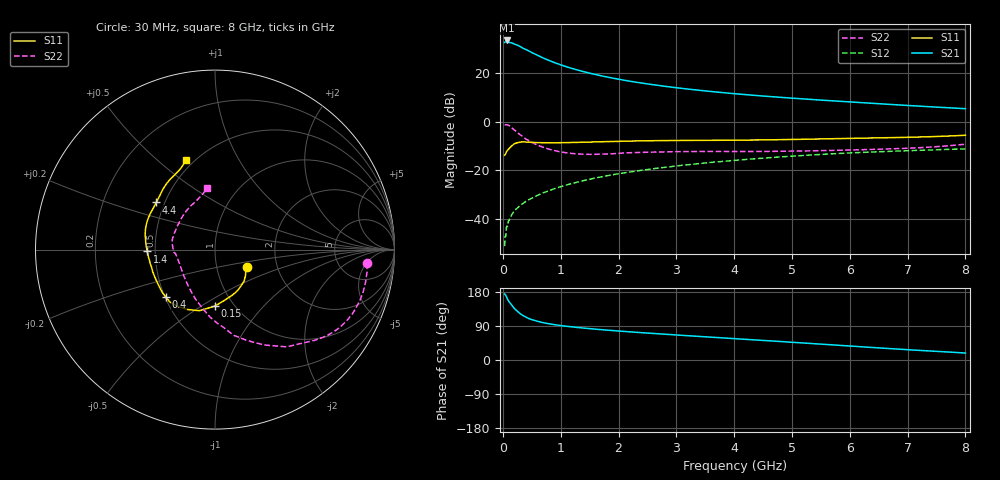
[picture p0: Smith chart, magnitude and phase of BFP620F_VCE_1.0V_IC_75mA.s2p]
! Infineon Technologies  Discrete & RF Semiconductors
! BFP620F
! VCE =  1.0 V,  IC =  75 mA
! Common Emitter S-Parameters:  Dec 2014
# GHz  S  MA  R  50
!  f  S11  S21  S12  S22
! GHz  MAG  ANG  MAG  ANG  MAG  ANG  MAG  ANG
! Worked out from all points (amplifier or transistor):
!   95 points, 30 MHz to 8 GHz, reference 50 ohm
!   highest |S21| = 33.2 dB at 70 MHz (marker M1)
!   |S21| within 3 dB of that: start of sweep to 334.1 MHz
!   unconditionally stable (mu >= 1): start of sweep to 31.86 MHz; 1.407 GHz to end of sweep
!   at 300 MHz: K = 0.61, MSG = 32.6 dB, |S12| = -34.4 dB
!   at 3.3 GHz: K = 1.04, MAG = 14.0 dB, |S12| = -17.5 dB
!   at 8 GHz: K = 1.06, MAG = 6.7 dB, |S12| = -11.2 dB
!   S11 on the Smith chart (normalised r, x): 30 MHz: 1.40, -0.29; 150 MHz: 0.81, -0.57; 400 MHz: 0.50, -0.31; 1.4 GHz: 0.45, -0.01; 4.4 GHz: 0.45, +0.29; 8 GHz: 0.45, +0.62
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0.03  0.2043 -28.9  41.76 174.5  0.0028 84.3  0.8508 -5.2
0.06  0.2391 -47.3  45.6 167.4  0.0067 79.9  0.8588 -15.3
0.07  0.247 -53.4  45.88 163.9  0.0072 80.9  0.8563 -18.5
0.09  0.2658 -65.2  44.55 157.8  0.0083 81.6  0.8452 -25.0
0.12  0.2893 -80.2  41.49 151.1  0.0104 75.3  0.8046 -34.7
0.15  0.3154 -90.5  41.13 145.5  0.0121 71.5  0.7493 -42.5
0.2  0.3515 -104.4  38.71 135.8  0.0149 68.9  0.6725 -53.7
0.25  0.3686 -115.3  36.76 128.7  0.0169 67.5  0.5965 -62.9
0.3  0.3786 -123.6  34.47 122.1  0.0191 67.0  0.5359 -70.7
0.35  0.3853 -130.6  31.6 117.1  0.0211 66.4  0.4886 -77.7
0.4  0.3803 -136.3  29.93 113.2  0.0233 66.0  0.4359 -83.8
0.5  0.3747 -144.7  25.94 106.7  0.0269 66.8  0.3759 -94.4
0.7  0.3684 -156.4  19.98 98.4  0.0348 67.2  0.2967 -111.4
1  0.3693 -167.9  14.53 90.9  0.0463 67.8  0.239 -132.1
1.4  0.3783 -178.4  10.51 84.2  0.0618 67.1  0.2141 -154.3
2  0.3929 170.4  7.378 76.5  0.0853 64.6  0.2223 -175.0
2.7  0.4068 160.6  5.48 69.1  0.1119 60.4  0.2377 174.6
4.1  0.4162 144.3  3.645 55.4  0.1635 50.7  0.2435 159.5
4.4  0.4197 141.3  3.408 52.6  0.1744 48.4  0.2441 155.3
5.4  0.4383 132.6  2.805 42.8  0.2087 40.5  0.2527 140.5
6.7  0.4682 120.6  2.245 30.0  0.2454 29.7  0.2762 120.3
8  0.5243 108.2  1.837 18.4  0.2752 19.5  0.3434 97.2
